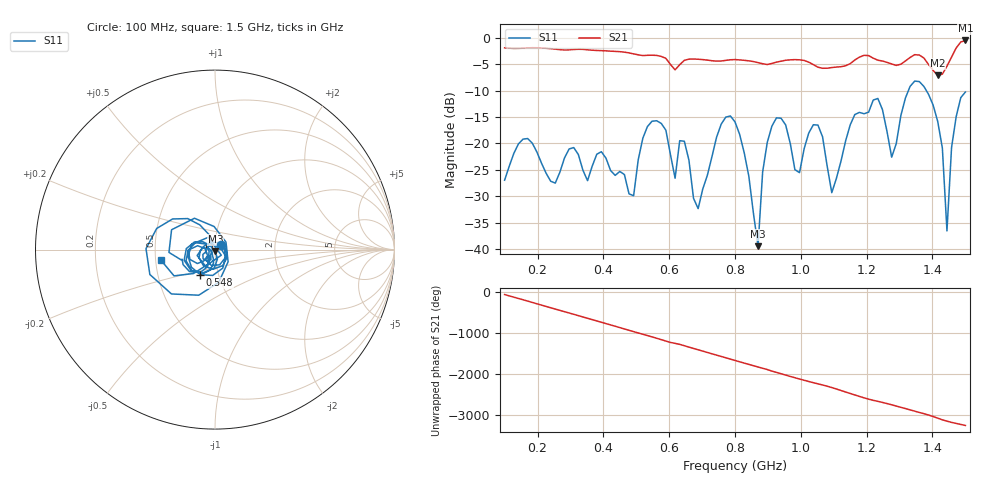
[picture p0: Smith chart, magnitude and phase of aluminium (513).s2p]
! NanoVNA-App
! Date: 2025-09-25 14:59:16
! Start: 100MHz Stop: 1,5GHz Points: 101
! S-Parameter data: F S11 S21 S12 S22
# Hz S RI R 50
!  Frequency  S11_Real  S11_Imag  S21_Real  S21_Imag  S12_Real  S12_Imag  S22_Real  S22_Imag
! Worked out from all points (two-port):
!   101 points, 100 MHz to 1.5 GHz, reference 50 ohm
!   highest |S21| = -0.53 dB at 1.5 GHz (marker M1); lowest = -7.1 dB at 1.416 GHz (marker M2)
!   |S21| within 3 dB of the highest: start of sweep to 574.5 MHz; 1.459 GHz to end of sweep (the widest 2 of 4)
!   lowest |S11| = -39.4 dB at 870 MHz (marker M3), VSWR 1.02, Z = 50.2 - j1.05 ohm
!   |S11| at or under -10 dB: start of sweep to 1.327 GHz; 1.381 GHz to end of sweep
!   S12 and S22 are empty: the file has one direction only
!   S11 on the Smith chart (normalised r, x): 100 MHz: 1.07, +0.06; 548 MHz: 0.82, -0.24; 1.5 GHz: 0.54, -0.07
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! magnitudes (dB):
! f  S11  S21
! 100 MHz  -27.0  -1.9
! 170 MHz  -19.1  -1.9
! 338 MHz  -25.1  -2.2
! 492 MHz  -29.9  -3.1
! 548 MHz  -15.8  -3.3
! 576 MHz  -16.2  -3.5
! 618 MHz  -26.6  -6.1
! 646 MHz  -19.6  -4.3
! 688 MHz  -32.3  -4.1
! 800 MHz  -15.9  -4.1
! 870 MHz  -39.4  -4.7
! 912 MHz  -16.7  -4.9
! 996 MHz  -25.5  -4.2
! 1.038 GHz  -16.5  -5.1
! 1.094 GHz  -29.3  -5.6
! 1.22 GHz  -11.8  -3.9
! 1.276 GHz  -22.6  -5.0
! 1.346 GHz  -8.2  -3.2
! 1.416 GHz  -15.9  -7.1
! 1.444 GHz  -36.5  -5.4
! 1.458 GHz  -20.8  -3.7
! 1.5 GHz  -10.3  -0.5
